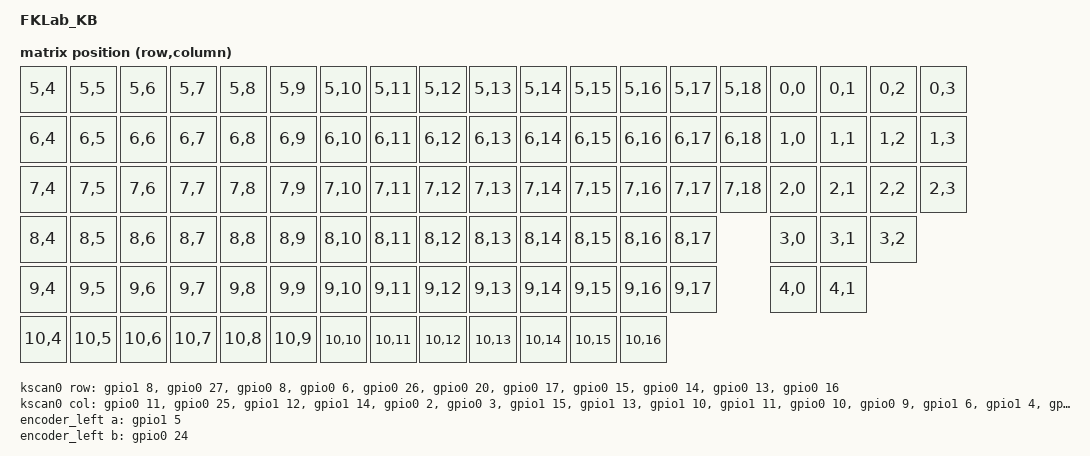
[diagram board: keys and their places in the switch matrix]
/*
 * Copyright (c) 2020 The ZMK Contributors
 *
 * SPDX-License-Identifier: MIT
 */

/dts-v1/;
#include <nordic/nrf52840_qiaa.dtsi>
#include <dt-bindings/led/led.h>
#include <dt-bindings/zmk/matrix_transform.h>

/ {
	model = "FKLab_KB";
	compatible = "FKLab_KB";

	chosen {
		zephyr,code-partition = &code_partition;
		zephyr,sram = &sram0;
		zephyr,flash = &flash0;
		zmk,kscan = &kscan0;
		zephyr,console = &cdc_acm_uart;
		zmk,matrix_transform = &default_transform;
		zmk,underglow = &led_strip;
		zmk,battery = &vbatt;
	};
 
	kscan0: kscan {
		compatible = "zmk,kscan-gpio-matrix";
		label = "KSCAN";
		diode-direction = "col2row";
	    debounce-press-ms = <5>;
		debounce-release-ms = <10>;
		row-gpios
			= <&gpio1  8 (GPIO_ACTIVE_HIGH | GPIO_PULL_DOWN)> //NUMPAD1
			, <&gpio0 27 (GPIO_ACTIVE_HIGH | GPIO_PULL_DOWN)> //NUMPAD2
			, <&gpio0  8 (GPIO_ACTIVE_HIGH | GPIO_PULL_DOWN)> //NUMPAD3
			, <&gpio0  6 (GPIO_ACTIVE_HIGH | GPIO_PULL_DOWN)> //NUMPAD4
			, <&gpio0 26 (GPIO_ACTIVE_HIGH | GPIO_PULL_DOWN)> //NUMPAD5
			, <&gpio0 20 (GPIO_ACTIVE_HIGH | GPIO_PULL_DOWN)> //MainKeys1
			, <&gpio0 17 (GPIO_ACTIVE_HIGH | GPIO_PULL_DOWN)> //MainKeys2
			, <&gpio0 15 (GPIO_ACTIVE_HIGH | GPIO_PULL_DOWN)> //MainKeys3
			, <&gpio0 14 (GPIO_ACTIVE_HIGH | GPIO_PULL_DOWN)> //MainKeys4
			, <&gpio0 13 (GPIO_ACTIVE_HIGH | GPIO_PULL_DOWN)> //MainKeys5
			, <&gpio0 16 (GPIO_ACTIVE_HIGH | GPIO_PULL_DOWN)> //MainKeys6
			;
		col-gpios
			= <&gpio0 11 GPIO_ACTIVE_HIGH> //NUMPAD1
			, <&gpio0 25 GPIO_ACTIVE_HIGH> //NUMPAD2
			, <&gpio1 12 GPIO_ACTIVE_HIGH> //NUMPAD3
			, <&gpio1 14 GPIO_ACTIVE_HIGH> //NUMPAD4
			, <&gpio0  2 GPIO_ACTIVE_HIGH> //MainKeys1
			, <&gpio0  3 GPIO_ACTIVE_HIGH> //MainKeys2
			, <&gpio1 15 GPIO_ACTIVE_HIGH> //MainKeys3
			, <&gpio1 13 GPIO_ACTIVE_HIGH> //MainKeys4
			, <&gpio1 10 GPIO_ACTIVE_HIGH> //MainKeys5
			, <&gpio1 11 GPIO_ACTIVE_HIGH> //MainKeys6
			, <&gpio0 10 GPIO_ACTIVE_HIGH> //MainKeys7
			, <&gpio0  9 GPIO_ACTIVE_HIGH> //MainKeys8
			, <&gpio1  6 GPIO_ACTIVE_HIGH> //MainKeys9
			, <&gpio1  4 GPIO_ACTIVE_HIGH> //MainKeys10
			, <&gpio1  2 GPIO_ACTIVE_HIGH> //MainKeys11
			, <&gpio1  1 GPIO_ACTIVE_HIGH> //MainKeys12
			, <&gpio1  3 GPIO_ACTIVE_HIGH> //MainKeys13
			, <&gpio1  0 GPIO_ACTIVE_HIGH> //MainKeys14
			, <&gpio0 22 GPIO_ACTIVE_HIGH> //MainKeys15
			;
	};
    default_transform: matrix_transform {
        compatible = "zmk,matrix-transform";
        rows = <6>;
        columns = <19>;
        map = <
			RC(5,4)  RC(5,5)  RC(5,6)  RC(5,7)  RC(5,8)  RC(5,9)  RC(5,10)  RC(5,11)  RC(5,12)  RC(5,13)  RC(5,14)  RC(5,15)  RC(5,16)  RC(5,17) RC(5,18) RC(0,0) RC(0,1) RC(0,2) RC(0,3)
			RC(6,4)  RC(6,5)  RC(6,6)  RC(6,7)  RC(6,8)  RC(6,9)  RC(6,10)  RC(6,11)  RC(6,12)  RC(6,13)  RC(6,14)  RC(6,15)  RC(6,16)  RC(6,17) RC(6,18) RC(1,0) RC(1,1) RC(1,2) RC(1,3)
			RC(7,4)  RC(7,5)  RC(7,6)  RC(7,7)  RC(7,8)  RC(7,9)  RC(7,10)  RC(7,11)  RC(7,12)  RC(7,13)  RC(7,14)  RC(7,15)  RC(7,16)  RC(7,17) RC(7,18) RC(2,0) RC(2,1) RC(2,2) RC(2,3)
			RC(8,4)  RC(8,5)  RC(8,6)  RC(8,7)  RC(8,8)  RC(8,9)  RC(8,10)  RC(8,11)  RC(8,12)  RC(8,13)  RC(8,14)  RC(8,15)  RC(8,16)  RC(8,17)		  RC(3,0) RC(3,1) RC(3,2)
			RC(9,4)  RC(9,5)  RC(9,6)  RC(9,7)  RC(9,8)  RC(9,9)  RC(9,10)  RC(9,11)  RC(9,12)  RC(9,13)  RC(9,14)  RC(9,15)  RC(9,16)  RC(9,17)		  RC(4,0) RC(4,1)
			RC(10,4) RC(10,5) RC(10,6) RC(10,7) RC(10,8) RC(10,9) RC(10,10) RC(10,11) RC(10,12) RC(10,13) RC(10,14) RC(10,15) RC(10,16) 		
        >;
    };

	sensors {
    compatible = "zmk,keymap-sensors";
    sensors = <&encoder>;
	};

	power: ext-power {
		compatible = "zmk,ext-power-generic";
		label = "EXT_POWER";
		init-delay-ms = <20>;
		control-gpios = <&gpio0 4 GPIO_ACTIVE_HIGH>;
	};

	encoder_left {
        compatible = "alps,ec11";
        label = "ENCODER";
        a-gpios = <&gpio1 5  (GPIO_ACTIVE_HIGH | GPIO_PULL_UP)>;
        b-gpios = <&gpio0 24 (GPIO_ACTIVE_HIGH | GPIO_PULL_UP)>;
        resolution = <1>;
    };

	 vbatt: vbatt {
		compatible = "zmk,battery-voltage-divider";
		label = "BATTERY";
		io-channels = <&adc 7>;
		output-ohms = <806000>;
		full-ohms = <(806000 + 2000000000)>;
	};
};

&gpio0 {
	status = "okay";
};
&gpio1 {
	status = "okay";
};
&adc {
	status = "okay";
};

&usbd {
	status = "okay";
	cdc_acm_uart: cdc_acm_uart {
    compatible = "zephyr,cdc-acm-uart";
    label = "CDC_ACM_0";
  };
};

&spi1 {
  compatible = "nordic,nrf-spim";
  status = "okay";
  mosi-pin = <5>;
  sck-pin = <29>; // Unused pins
  miso-pin = <30>; // Unused pins

  led_strip: ws2812@0 {
    compatible = "worldsemi,ws2812-spi";
    label = "WS2812";

    /* SPI */
    reg = <0>; /* ignored, but necessary for SPI bindings */
    spi-max-frequency = <4000000>;

    /* WS2812 */
    chain-length = <102>; /* number of LEDs */
    spi-one-frame = <0x70>;
    spi-zero-frame = <0x40>;
    color-mapping = <LED_COLOR_ID_GREEN LED_COLOR_ID_RED LED_COLOR_ID_BLUE>;
  };
};



&flash0 {
	/*
	 * For more information, see:
	 * http://docs.zephyrproject.org/latest/devices/dts/flash_partitions.html
	 */
	partitions {
		compatible = "fixed-partitions";
		#address-cells = <1>;
		#size-cells = <1>;

		sd_partition: partition@0 {
			label = "softdevice";
			reg = <0x00000000 0x00026000>;
		};
		code_partition: partition@26000 {
			label = "code_partition";
			reg = <0x00026000 0x000c6000>;
		};

		/*
		 * The flash starting at 0x000ec000 and ending at
		 * 0x000f3fff is reserved for use by the application.
		 */

		/*
		 * Storage partition will be used by FCB/LittleFS/NVS
		 * if enabled.
		 */
		storage_partition: partition@ec000 {
			label = "storage";
			reg = <0x000ec000 0x00008000>;
		};

		boot_partition: partition@f4000 {
			label = "adafruit_boot";
			reg = <0x000f4000 0x0000c000>;
		};
	};
};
